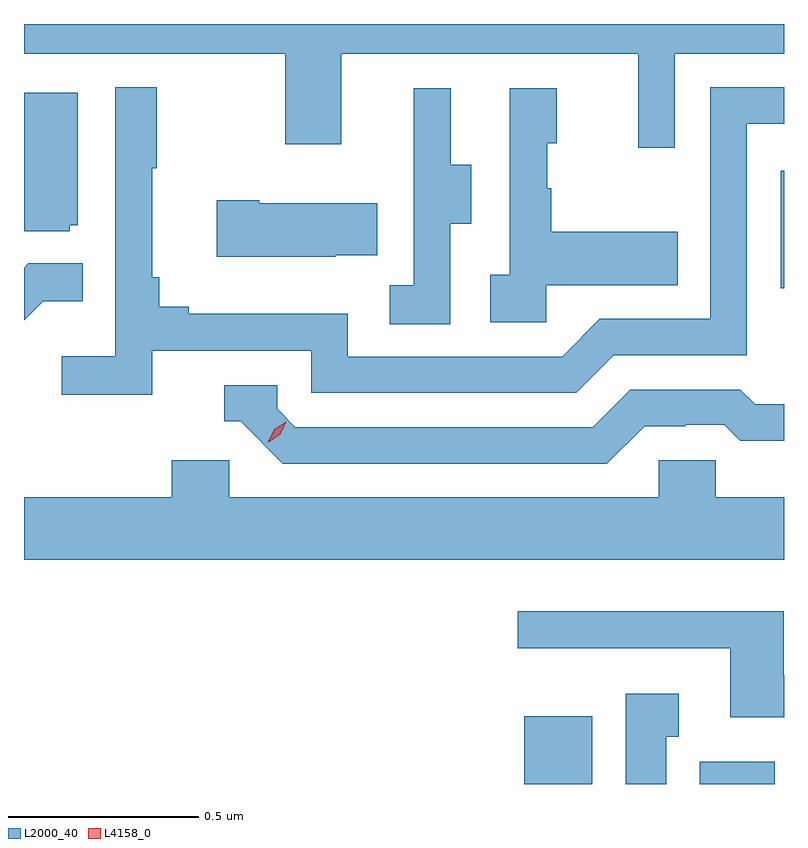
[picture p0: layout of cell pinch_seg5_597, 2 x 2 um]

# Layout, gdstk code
import gdstk
lib = gdstk.Library(unit=1e-6, precision=1e-09)
def R(c, l, rs):  # rectangles x0, y0, x1, y1
    for r in rs: c.add(gdstk.rectangle(r[:2], r[2:], *l))
def P(c, l, *ps):  # polygons
    for p in ps: c.add(gdstk.Polygon(p, *l))
L2000_40 = (2000, 40)
L4158_0 = (4158, 0)

pinch_seg5_597 = lib.new_cell('pinch_seg5_597')
R(pinch_seg5_597, L2000_40, [(1126.826,857.502,1127.005,857.68), (1127.288,857.502,1127.485,857.56), (1127.502,858.807,1127.51,859.116)])
P(pinch_seg5_597, L2000_40, [(1127.223,859.424),(1127.51,859.424),(1127.51,859.502),(1125.51,859.502),(1125.51,859.424),(1126.198,859.424),(1126.198,859.185),(1126.345,859.185),(1126.345,859.424),(1127.126,859.424),(1127.126,859.176),(1127.223,859.176)],
  [(1125.848,858.642),(1126.266,858.642),(1126.266,858.531),(1126.963,858.531),(1127.062,858.63),(1127.412,858.63),(1127.412,859.239),(1127.51,859.239),(1127.51,859.335),(1127.316,859.335),(1127.316,858.726),(1127.025,858.726),(1126.926,858.627),(1126.362,858.627),(1126.362,858.739),(1125.943,858.739),(1125.943,858.758),(1125.866,858.758),(1125.866,858.835),(1125.847,858.835),(1125.847,859.123),(1125.859,859.123),(1125.859,859.336),(1125.75,859.336),(1125.75,858.628),(1125.609,858.628),(1125.609,858.526),(1125.848,858.526)],
  [(1126.884,858.815),(1127.231,858.815),(1127.231,858.955),(1126.897,858.955),(1126.897,859.07),(1126.887,859.07),(1126.887,859.188),(1126.912,859.188),(1126.912,859.333),(1126.788,859.333),(1126.788,858.842),(1126.737,858.842),(1126.737,858.717),(1126.884,858.717)],
  [(1126.632,858.976),(1126.687,858.976),(1126.687,859.131),(1126.633,859.131),(1126.633,859.333),(1126.535,859.333),(1126.535,859.119),(1126.536,859.119),(1126.536,858.815),(1126.473,858.815),(1126.473,858.712),(1126.632,858.712)],
  [(1125.63,858.972),(1125.652,858.972),(1125.652,859.321),(1125.51,859.321),(1125.51,858.957),(1125.63,858.957)],
  [(1126.331,858.893),(1126.439,858.893),(1126.439,859.03),(1126.129,859.03),(1126.129,859.038),(1126.017,859.038),(1126.017,858.89),(1126.331,858.89)],
  [(1125.561,858.773),(1125.665,858.773),(1125.665,858.872),(1125.521,858.872),(1125.51,858.861),(1125.51,858.722)],
  [(1127.143,858.444),(1127.25,858.444),(1127.25,858.447),(1127.353,858.447),(1127.395,858.405),(1127.51,858.405),(1127.51,858.501),(1127.434,858.501),(1127.395,858.54),(1127.106,858.54),(1127.007,858.441),(1126.224,858.441),(1126.176,858.489),(1126.176,858.552),(1126.037,858.552),(1126.037,858.456),(1126.08,858.456),(1126.191,858.345),(1127.044,858.345)],
  [(1127.51,858.256),(1127.331,858.256),(1127.331,858.354),(1127.181,858.354),(1127.181,858.256),(1126.05,858.256),(1126.05,858.354),(1125.899,858.354),(1125.899,858.256),(1125.51,858.256),(1125.51,858.092),(1127.51,858.092)],
  [(1127.51,857.788),(1127.509,857.788),(1127.509,857.956),(1126.809,857.956),(1126.809,857.859),(1127.369,857.859),(1127.369,857.678),(1127.51,857.678)],
  [(1127.2,857.627),(1127.233,857.627),(1127.233,857.74),(1127.093,857.74),(1127.093,857.502),(1127.2,857.502)])
P(pinch_seg5_597, L4158_0, [(1126.153,858.402),(1126.153,858.403),(1126.169,858.435),(1126.2,858.455),(1126.2,858.455),(1126.2,858.454),(1126.184,858.422),(1126.154,858.402)])

lib.write_gds('pinch_seg5_597.gds')
